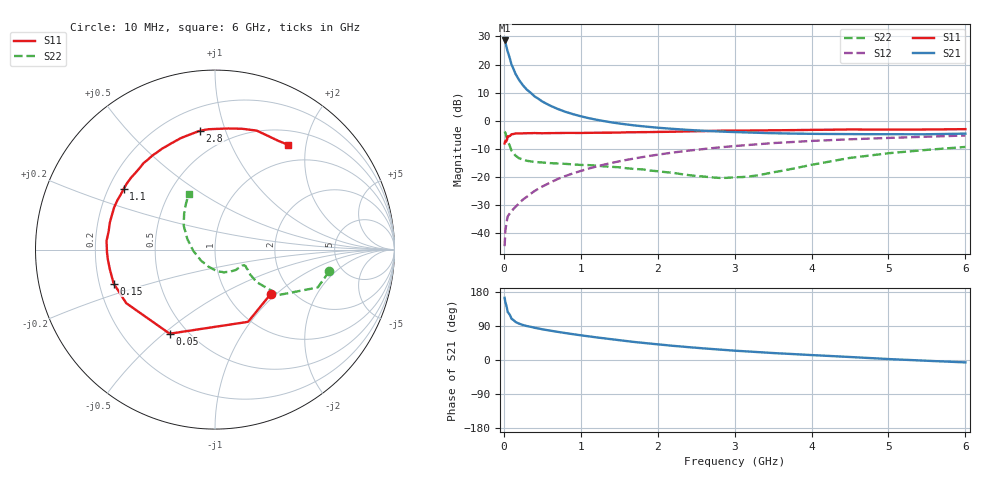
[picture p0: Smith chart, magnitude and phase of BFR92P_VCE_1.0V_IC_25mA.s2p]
! Infineon Technologies  Discrete & RF Semiconductors
! BFR92P
! VCE =  1.0 V,  IC =  25 mA
! Common Emitter S-Parameters:  Apr 2014
# GHz  S  MA  R  50
!  f  S11  S21  S12  S22
! GHz  MAG  ANG  MAG  ANG  MAG  ANG  MAG  ANG
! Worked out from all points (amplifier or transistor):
!   77 points, 10 MHz to 6 GHz, reference 50 ohm
!   highest |S21| = 28.6 dB at 10 MHz (marker M1)
!   |S21| within 3 dB of that: start of sweep to 40.62 MHz
!   unconditionally stable (mu >= 1): start of sweep to 17.38 MHz; 73.98 MHz to end of sweep
!   at 130 MHz: K = 1.34, MAG = 21.2 dB, |S12| = -31.2 dB
!   at 2.2 GHz: K = 1.55, MAG = -0.2 dB, |S12| = -11.3 dB
!   at 6 GHz: K = 1.08, MAG = -1.4 dB, |S12| = -5.2 dB
!   S11 on the Smith chart (normalised r, x): 10 MHz: 1.58, -0.92; 50 MHz: 0.40, -0.52; 150 MHz: 0.26, -0.15; 1.1 GHz: 0.26, +0.28; 2.8 GHz: 0.34, +0.82; 6 GHz: 0.71, +1.68
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0.01  0.397 -38.1  26.86 164.2  0.0059 76.3  0.6483 -10.7
0.02  0.4426 -65.4  24.94 152.3  0.0112 67.8  0.6105 -20.2
0.03  0.4263 -84.8  21.87 145.8  0.0139 59.8  0.5484 -24.2
0.05  0.5323 -118.3  17 126.5  0.0199 50.8  0.4356 -35.5
0.1  0.5776 -148.9  9.938 108.7  0.0248 47.3  0.2942 -37.9
0.15  0.5954 -161.5  6.911 100.6  0.0294 51.1  0.2411 -35.4
0.2  0.5959 -169.1  5.265 95.8  0.0343 55.2  0.2156 -31.6
0.25  0.5992 -174.5  4.258 92.3  0.04 58.4  0.2039 -30.5
0.3  0.6019 -178.2  3.572 89.5  0.0447 61.4  0.1946 -28.5
0.4  0.6062 175.4  2.72 85.0  0.0565 64.9  0.1856 -28.1
0.5  0.6011 170.1  2.205 81.0  0.0678 66.4  0.1815 -28.8
0.6  0.605 165.6  1.868 77.6  0.0794 67.2  0.177 -30.0
0.7  0.6058 161.4  1.627 74.3  0.0923 67.7  0.1743 -32.0
0.9  0.6094 153.4  1.313 68.1  0.1164 67.2  0.1678 -37.5
1.1  0.6111 146.4  1.118 62.5  0.1412 65.7  0.1631 -43.0
1.5  0.6183 133.0  0.896 52.3  0.1907 61.6  0.1493 -56.6
2.1  0.6368 114.9  0.736 39.4  0.2613 53.8  0.1224 -81.3
2.8  0.6673 97.3  0.646 27.6  0.3366 44.1  0.0966 -123.5
3.1  0.6717 91.3  0.625 23.4  0.3646 39.5  0.1 -149.2
4.1  0.6917 76.0  0.585 12.0  0.4447 25.6  0.1746 155.0
5.1  0.6989 63.9  0.578 1.6  0.5013 13.0  0.2726 128.5
6  0.7115 55.3  0.592 -6.3  0.5491 2.1  0.3433 115.2
